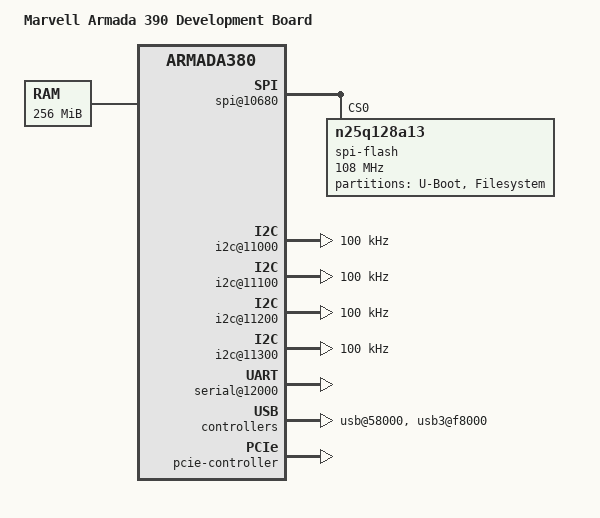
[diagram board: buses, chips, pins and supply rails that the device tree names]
/*
 * Device Tree file for Marvell Armada 390 Development Board
 * (DB-88F6920)
 *
 * Copyright (C) 2014 Marvell
 *
 * Signed-off-by: Grzegorz Jaszczyk <jaz@semihalf.com>
 *
 * This file is dual-licensed: you can use it either under the terms
 * of the GPL or the X11 license, at your option. Note that this dual
 * licensing only applies to this file, and not this project as a
 * whole.
 *
 *  a) This file is licensed under the terms of the GNU General Public
 *     License version 2.  This program is licensed "as is" without
 *     any warranty of any kind, whether express or implied.
 *
 * Or, alternatively,
 *
 *  b) Permission is hereby granted, free of charge, to any person
 *     obtaining a copy of this software and associated documentation
 *     files (the "Software"), to deal in the Software without
 *     restriction, including without limitation the rights to use,
 *     copy, modify, merge, publish, distribute, sublicense, and/or
 *     sell copies of the Software, and to permit persons to whom the
 *     Software is furnished to do so, subject to the following
 *     conditions:
 *
 *     The above copyright notice and this permission notice shall be
 *     included in all copies or substantial portions of the Software.
 *
 *     THE SOFTWARE IS PROVIDED "AS IS", WITHOUT WARRANTY OF ANY KIND,
 *     EXPRESS OR IMPLIED, INCLUDING BUT NOT LIMITED TO THE WARRANTIES
 *     OF MERCHANTABILITY, FITNESS FOR A PARTICULAR PURPOSE AND
 *     NONINFRINGEMENT. IN NO EVENT SHALL THE AUTHORS OR COPYRIGHT
 *     HOLDERS BE LIABLE FOR ANY CLAIM, DAMAGES OR OTHER LIABILITY,
 *     WHETHER IN AN ACTION OF CONTRACT, TORT OR OTHERWISE, ARISING
 *     FROM, OUT OF OR IN CONNECTION WITH THE SOFTWARE OR THE USE OR
 *     OTHER DEALINGS IN THE SOFTWARE.
 */

/dts-v1/;
#include "armada-390.dtsi"

/ {
	model = "Marvell Armada 390 Development Board";
	compatible = "marvell,a390-db", "marvell,armada390", "marvell,armada380";

	chosen {
		bootargs = "console=ttyS0,115200 earlyprintk";
	};

	memory {
		device_type = "memory";
		reg = <0x00000000 0x10000000>; /* 256 MB */
	};

	soc {
		ranges = <MBUS_ID(0xf0, 0x01) 0 0xf1000000 0x100000
			  MBUS_ID(0x01, 0x1d) 0 0xfff00000 0x100000>;

		internal-regs {
			spi@10680 {
				status = "okay";
				pinctrl-0 = <&spi1_pins>;
				pinctrl-names = "default";

				spi-flash@1 {
					#address-cells = <1>;
					#size-cells = <1>;
					compatible = "n25q128a13", "jedec,spi-nor";
					reg = <0>; /* Chip select 0 */
					spi-max-frequency = <108000000>;

					partition@0 {
						label = "U-Boot";
						reg = <0 0x400000>;
					};
					partition@400000 {
						label = "Filesystem";
						reg = <0x400000 0xc00000>;
					};
				};
			};

			i2c@11000 {
				status = "okay";
				clock-frequency = <100000>;
			};

			i2c@11100 {
				status = "okay";
				clock-frequency = <100000>;
			};

			i2c@11200 {
				status = "okay";
				clock-frequency = <100000>;
			};

			i2c@11300 {
				status = "okay";
				clock-frequency = <100000>;
			};

			serial@12000 {
				status = "okay";
			};

			usb@58000 {
				status = "okay";
			};

			sdhci@d8000 {
				clock-frequency = <200000000>;
				broken-cd;
				wp-inverted;
				bus-width = <8>;
				status = "disabled";
				no-1-8-v;
			};

			usb3@f8000 {
				status = "okay";
			};
		};

		pcie-controller {
			status = "okay";
			/*
			 * The three PCIe units are accessible through
			 * standard PCIe slots on the board.
			 */
			pcie@1,0 {
				/* Port 0, Lane 0 */
				status = "okay";
			};
			pcie@2,0 {
				/* Port 1, Lane 0 */
				status = "okay";
			};
			pcie@3,0 {
				/* Port 2, Lane 0 */
				status = "okay";
			};
		};
	};
};
